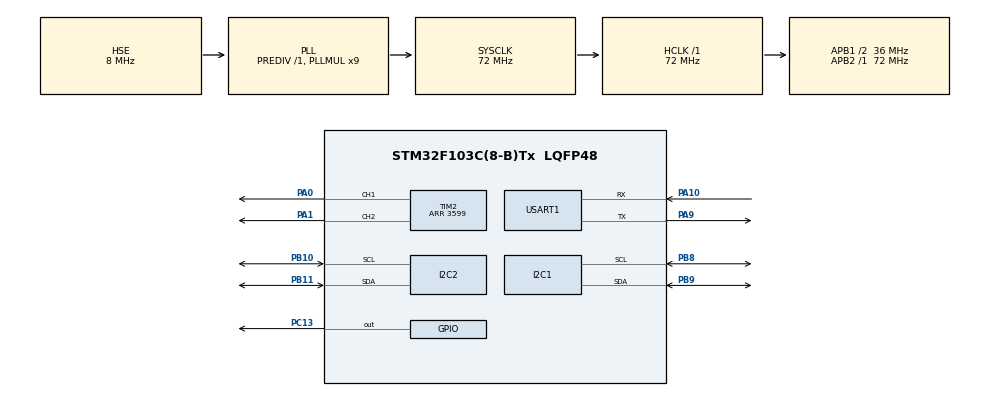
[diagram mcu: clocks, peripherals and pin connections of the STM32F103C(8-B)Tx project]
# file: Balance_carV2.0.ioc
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Mcu.Family=STM32F1
Mcu.Name=STM32F103C(8-B)Tx
Mcu.Package=LQFP48
NVIC.PriorityGroup=NVIC_PRIORITYGROUP_4
PA0-WKUP.Signal=S_TIM2_CH1_ETR
PA1.Signal=S_TIM2_CH2
PA10.Mode=Asynchronous
PA10.Signal=USART1_RX
PA13.Mode=Serial_Wire
PA13.Signal=SYS_JTMS-SWDIO
PA14.Mode=Serial_Wire
PA14.Signal=SYS_JTCK-SWCLK
PA9.Mode=Asynchronous
PA9.Signal=USART1_TX
PB10.Mode=I2C
PB10.Signal=I2C2_SCL
PB11.Mode=I2C
PB11.Signal=I2C2_SDA
PB8.Mode=I2C
PB8.Signal=I2C1_SCL
PB9.Mode=I2C
PB9.Signal=I2C1_SDA
PC13-TAMPER-RTC.Signal=GPIO_Output
PC14-OSC32_IN.Mode=LSE-External-Oscillator
PC14-OSC32_IN.Signal=RCC_OSC32_IN
PC15-OSC32_OUT.Mode=LSE-External-Oscillator
PC15-OSC32_OUT.Signal=RCC_OSC32_OUT
PD0-OSC_IN.Mode=HSE-External-Oscillator
PD0-OSC_IN.Signal=RCC_OSC_IN
PD1-OSC_OUT.Mode=HSE-External-Oscillator
PD1-OSC_OUT.Signal=RCC_OSC_OUT
ProjectManager.HeapSize=0x200
ProjectManager.StackSize=0x400
ProjectManager.TargetToolchain=MDK-ARM V5.32
RCC.AHBFreq_Value=72000000
RCC.APB1CLKDivider=RCC_HCLK_DIV2
RCC.APB1Freq_Value=36000000
RCC.APB1TimFreq_Value=72000000
RCC.APB2Freq_Value=72000000
RCC.APB2TimFreq_Value=72000000
RCC.HCLKFreq_Value=72000000
RCC.PLLMUL=RCC_PLL_MUL9
RCC.PLLSourceVirtual=RCC_PLLSOURCE_HSE
RCC.SYSCLKFreq_VALUE=72000000
RCC.SYSCLKSource=RCC_SYSCLKSOURCE_PLLCLK
RCC.USBFreq_Value=72000000
SH.S_TIM2_CH1_ETR.0=TIM2_CH1,PWM Generation1 CH1
SH.S_TIM2_CH2.0=TIM2_CH2,PWM Generation2 CH2
TIM2.Channel-PWM\ Generation1\ CH1=TIM_CHANNEL_1
TIM2.Channel-PWM\ Generation2\ CH2=TIM_CHANNEL_2
TIM2.Period=3599
USART1.VirtualMode=VM_ASYNC
VP_TIM2_VS_ClockSourceINT.Mode=Internal
board=custom

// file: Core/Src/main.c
/* USER CODE BEGIN Header */
/**
  ******************************************************************************
  * @file           : main.c
  * @brief          : Main program body
  ******************************************************************************
  * @attention
  *
  * Copyright (c) 2026 STMicroelectronics.
  * All rights reserved.
  *
  * This software is licensed under terms that can be found in the LICENSE file
  * in the root directory of this software component.
  * If no LICENSE file comes with this software, it is provided AS-IS.
  *
  ******************************************************************************
  */
/* USER CODE END Header */
#include "main.h"
#include "i2c.h"
#include "tim.h"
#include "usart.h"
#include "gpio.h"

/* USER CODE BEGIN Includes */
#include "drv_oled.h"
#include "bsp_st_i2c.h"
#include "app_st_balance_pid.h"
#include "app_st_drive.h"
#include "app_st_imu.h"
/* USER CODE END Includes */

void SystemClock_Config(void);

int main(void)
{

  /* MCU Configuration--------------------------------------------------------*/

  /* Reset of all peripherals, Initializes the Flash interface and the Systick. */
  HAL_Init();

  /* Configure the system clock */
  SystemClock_Config();

  /* Initialize all configured peripherals */
  MX_GPIO_Init();
  MX_TIM2_Init();
  MX_USART1_UART_Init();
  MX_I2C1_Init();
  MX_I2C2_Init();
  /* USER CODE BEGIN 2 */

  if (BSP_ST_I2C_Init() != HAL_OK)
  {
    Error_Handler();
  }

  if (APP_ST_IMU_Init(400U) != HAL_OK)
  {
    Error_Handler();
  }
  OLED_Init();
  OLED_ShowString(0, 0, "Balance PID", OLED_8X16);
  OLED_Update();

  if (APP_ST_DRIVE_Init() != HAL_OK)
  {
    Error_Handler();
  }

  if (APP_ST_BALANCE_PID_Init() != HAL_OK)
  {
    Error_Handler();
  }
  /* USER CODE END 2 */

  /* Infinite loop */
  /* USER CODE BEGIN WHILE */
  while (1)
  {
    APP_ST_IMU_Data imu_data;
    HAL_StatusTypeDef balance_status;
    float balance_output;

    if (APP_ST_IMU_Update() == HAL_OK)
    {
      APP_ST_IMU_GetData(&imu_data);

      balance_status = APP_ST_BALANCE_PID_Update(
          &imu_data,
          0.0f,
          &balance_output);
      if (balance_status == HAL_OK)
      {
        if (APP_ST_DRIVE_Apply(balance_output, 0.0f) != HAL_OK)
        {
          Error_Handler();
        }
      }
      else if (balance_status == HAL_BUSY)
      {
        if (APP_ST_DRIVE_Stop() != HAL_OK)
        {
          Error_Handler();
        }
      }
      else
      {
        (void)APP_ST_DRIVE_Stop();
        Error_Handler();
      }
    }
    else
    {
      if (APP_ST_BALANCE_PID_Stop() != HAL_OK)
      {
        Error_Handler();
      }
      if (APP_ST_DRIVE_Stop() != HAL_OK)
      {
        Error_Handler();
      }
    }

    HAL_Delay(5U);
    /* USER CODE END WHILE */

  }
}

void SystemClock_Config(void)
{
  RCC_OscInitTypeDef RCC_OscInitStruct = {0};
  RCC_ClkInitTypeDef RCC_ClkInitStruct = {0};

  /** Initializes the RCC Oscillators according to the specified parameters
  * in the RCC_OscInitTypeDef structure.
  */
  RCC_OscInitStruct.OscillatorType = RCC_OSCILLATORTYPE_HSE;
  RCC_OscInitStruct.HSEState = RCC_HSE_ON;
  RCC_OscInitStruct.HSEPredivValue = RCC_HSE_PREDIV_DIV1;
  RCC_OscInitStruct.HSIState = RCC_HSI_ON;
  RCC_OscInitStruct.PLL.PLLState = RCC_PLL_ON;
  RCC_OscInitStruct.PLL.PLLSource = RCC_PLLSOURCE_HSE;
  RCC_OscInitStruct.PLL.PLLMUL = RCC_PLL_MUL9;
  if (HAL_RCC_OscConfig(&RCC_OscInitStruct) != HAL_OK)
  {
    Error_Handler();
  }

  /** Initializes the CPU, AHB and APB buses clocks
  */
  RCC_ClkInitStruct.ClockType = RCC_CLOCKTYPE_HCLK|RCC_CLOCKTYPE_SYSCLK
                              |RCC_CLOCKTYPE_PCLK1|RCC_CLOCKTYPE_PCLK2;
  RCC_ClkInitStruct.SYSCLKSource = RCC_SYSCLKSOURCE_PLLCLK;
  RCC_ClkInitStruct.AHBCLKDivider = RCC_SYSCLK_DIV1;
  RCC_ClkInitStruct.APB1CLKDivider = RCC_HCLK_DIV2;
  RCC_ClkInitStruct.APB2CLKDivider = RCC_HCLK_DIV1;

  if (HAL_RCC_ClockConfig(&RCC_ClkInitStruct, FLASH_LATENCY_2) != HAL_OK)
  {
    Error_Handler();
  }
}

void Error_Handler(void)
{
  /* USER CODE BEGIN Error_Handler_Debug */
  /* User can add his own implementation to report the HAL error return state */

  while (1)
  {
    HAL_GPIO_TogglePin(GPIOC, GPIO_PIN_13);
    HAL_Delay(250);
  }
  /* USER CODE END Error_Handler_Debug */
}
